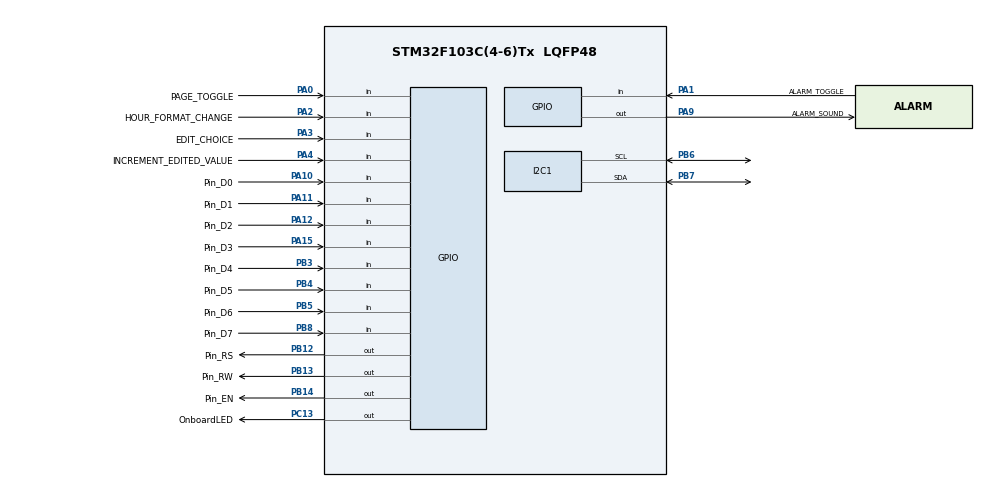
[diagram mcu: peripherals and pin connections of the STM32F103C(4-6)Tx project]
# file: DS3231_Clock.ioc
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I2C1.I2C_Mode=I2C_Standard
Mcu.Family=STM32F1
Mcu.Name=STM32F103C(4-6)Tx
Mcu.Package=LQFP48
NVIC.PriorityGroup=NVIC_PRIORITYGROUP_4
PA0-WKUP.GPIO_Label=PAGE_TOGGLE
PA0-WKUP.GPIO_PuPd=GPIO_PULLDOWN
PA0-WKUP.Signal=GPIO_Input
PA1.GPIO_Label=ALARM_TOGGLE
PA1.GPIO_PuPd=GPIO_PULLDOWN
PA1.Signal=GPIO_Input
PA10.GPIO_Label=Pin_D0
PA10.Signal=GPIO_Input
PA11.GPIO_Label=Pin_D1
PA11.Signal=GPIO_Input
PA12.GPIO_Label=Pin_D2
PA12.Signal=GPIO_Input
PA13.Signal=SYS_JTMS-SWDIO
PA14.Signal=SYS_JTCK-SWCLK
PA15.GPIO_Label=Pin_D3
PA15.Signal=GPIO_Input
PA2.GPIO_Label=HOUR_FORMAT_CHANGE
PA2.GPIO_PuPd=GPIO_PULLDOWN
PA2.Signal=GPIO_Input
PA3.GPIO_Label=EDIT_CHOICE
PA3.GPIO_PuPd=GPIO_PULLDOWN
PA3.Signal=GPIO_Input
PA4.GPIO_Label=INCREMENT_EDITED_VALUE
PA4.GPIO_PuPd=GPIO_PULLDOWN
PA4.Signal=GPIO_Input
PA9.GPIO_Label=ALARM_SOUND
PA9.Signal=GPIO_Output
PB12.GPIO_Label=Pin_RS
PB12.Signal=GPIO_Output
PB13.GPIO_Label=Pin_RW
PB13.Signal=GPIO_Output
PB14.GPIO_Label=Pin_EN
PB14.Signal=GPIO_Output
PB3.GPIO_Label=Pin_D4
PB3.Signal=GPIO_Input
PB4.GPIO_Label=Pin_D5
PB4.Signal=GPIO_Input
PB5.GPIO_Label=Pin_D6
PB5.Signal=GPIO_Input
PB6.Mode=I2C
PB6.Signal=I2C1_SCL
PB7.Mode=I2C
PB7.Signal=I2C1_SDA
PB8.GPIO_Label=Pin_D7
PB8.Signal=GPIO_Input
PC13-TAMPER-RTC.GPIO_Label=OnboardLED
PC13-TAMPER-RTC.Signal=GPIO_Output
ProjectManager.HeapSize=0x200
ProjectManager.StackSize=0x400
ProjectManager.TargetToolchain=STM32CubeIDE
RCC.APB1Freq_Value=8000000
RCC.APB2Freq_Value=8000000
VP_SYS_VS_ND.Mode=No_Debug
board=custom

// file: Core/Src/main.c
/* USER CODE BEGIN Header */
/**
  ******************************************************************************
  * @file           : main.c
  * @brief          : Main program body
  ******************************************************************************
  * @attention
  *
  * Copyright (c) 2026 STMicroelectronics.
  * All rights reserved.
  *
  * This software is licensed under terms that can be found in the LICENSE file
  * in the root directory of this software component.
  * If no LICENSE file comes with this software, it is provided AS-IS.
  *
  ******************************************************************************
  */
/* USER CODE END Header */
#include "main.h"

/* USER CODE BEGIN Includes */
#include "lcd_HD44780U.h"
#include "display_control.h"
#include "debounced_button.h"
#include "ds3231.h"
#include <string.h>
#include <stdio.h>
#include <stdlib.h>
#include <editor.h>
/* USER CODE END Includes */

/* USER CODE BEGIN PD */
#define N_BUTTONS_IN_CIRCUIT		5 //Total number of buttons in the circuit to be debounced
//Indices of the buttons in the debouncable buttons array
#define ALARM_TOGGLE_BUTTON_INDEX   			0
#define PAGE_TOGGLE_BUTTON_INDEX 				1
#define HOUR_FORMAT_CHANGE_BUTTON_INDEX			2
#define EDIT_CHOICE_BUTTON_INDEX				3
#define INCREMENT_EDITED_VALUE_BUTTON_INDEX		4
/* USER CODE END PD */

I2C_HandleTypeDef hi2c1;

/* USER CODE BEGIN PV */
static uint8_t currentCentury = 21;
/* USER CODE END PV */

void SystemClock_Config(void);
static void MX_GPIO_Init(void);
static void MX_I2C1_Init(void);
/* USER CODE BEGIN PFP */
//Sets the I2C pins as GPIO pins, tells the slaves to set the I2C bus free,
//sets the pin states back to Reset_State.
static void ResetI2CBus(void)
{
    __HAL_RCC_GPIOB_CLK_ENABLE(); //I2C Channel 1 are on pins PB6 (SCL) and PB7 (SDA)

    /*Configure GPIO pin Output Level */
    uint16_t pinSCL = GPIO_PIN_6, pinSDA = GPIO_PIN_7;
    GPIO_TypeDef* gpioChannel = GPIOB;
    //This is GPIO_PIN_RESET bc auto-generated code does it this way
    //and idk if GPIO_PIN_SET will be correct here
    HAL_GPIO_WritePin(gpioChannel, pinSCL | pinSDA, GPIO_PIN_RESET);

    GPIO_InitTypeDef GPIO_InitStruct = { 0 };
    GPIO_InitStruct.Pin = pinSCL | pinSDA;
    GPIO_InitStruct.Mode = GPIO_MODE_OUTPUT_OD;
    GPIO_InitStruct.Pull = GPIO_NOPULL;
    GPIO_InitStruct.Speed = GPIO_SPEED_FREQ_LOW;
    HAL_GPIO_Init(gpioChannel, &GPIO_InitStruct);

    //Release the SDA and SCL pins because we set both of them to LOW previously.
    HAL_GPIO_WritePin(gpioChannel, pinSCL | pinSDA, GPIO_PIN_SET);

    //9 iterations because 1 byte (8 bits) of data + 1 ACK bit
    for (int i = 0; i < 9; i++)
    {
    	HAL_GPIO_WritePin(gpioChannel, pinSCL, GPIO_PIN_RESET);
		HAL_Delay(1);
		//SCL pin must be set to HIGH last, because in order for SDA being high to mean the bus
		//is released, SCL needs to be high as well. Only both lines being high means the bus
		//is free.
		HAL_GPIO_WritePin(gpioChannel, pinSCL, GPIO_PIN_SET);
		HAL_Delay(1);

		//We can stop once SDA is HIGH (bus is released)
		if (HAL_GPIO_ReadPin(gpioChannel, pinSDA) != GPIO_PIN_SET)
		{
			break;
		}
    }

    //At this point the bus is free, generate a START condition.
    //START condition is pulling SDL low while SCL is high. At this point in code,
    //SCL pin is left high. All we need to do is pull SDA low.
    HAL_GPIO_WritePin(gpioChannel, pinSDA, GPIO_PIN_RESET);

    //Generating the START condition is enough for DS3231 to know things are reset
    //but just to better comply with I2C, generate a STOP condition as well.
    //SCL is still HIGH, all the STOP condition needs is releasing SDA as well so that
    //the pull-ups will pull it high
    HAL_Delay(1);
    HAL_GPIO_WritePin(gpioChannel, pinSDA, GPIO_PIN_SET);

    //Reset the pins to their reset states
    GPIO_InitStruct.Mode = GPIO_MODE_ANALOG;
    HAL_GPIO_Init(gpioChannel, &GPIO_InitStruct);
    __HAL_RCC_GPIOB_CLK_DISABLE(); //I2C Channel 1 are on pins PB6 (SCL) and PB7 (SDA)
}

/*
  All DS3231 I2C communication functions return the result of the communication. Instead of writing the code
  for displaying the error message after every DS3231 function call, you can simply pass the call into this
  function and it will handle the communication error displaying. It also returns the communication result
  back so if you need to do something special in your context, you can still execute your logic as well.
  In order to ensure the error message will be displayed, this function will block all other execution for
  3000ms.
*/
static HAL_StatusTypeDef I2C_ErrorHandler(HAL_StatusTypeDef commResult)
{
	if (commResult != HAL_OK)
	{
		ClearScreen();
		MoveCursor(1, 1);
		char msg[16] = { 0 };
		snprintf(msg, 16, "I2C err (%d)", commResult);
		WriteString(msg);
		HAL_Delay(3000);
	}
	return commResult;
}

static void ToggleAlarm(void)
{
	uint8_t alarmEnabled = 0;
	I2C_ErrorHandler(DS3231_IsAlarmEnabled(&alarmEnabled));
	I2C_ErrorHandler(DS3231_ToggleAlarm(!alarmEnabled));
}

static void ToggleHourFormat(void)
{
	uint8_t currentlyIn12hrFormat = 0;
	I2C_ErrorHandler(DS3231_Is12hrFormatEnabled(&currentlyIn12hrFormat));
	I2C_ErrorHandler(DS3231_SetTimeFormat(!currentlyIn12hrFormat));
}

static void SetDateForDS3231(uint16_t year, uint8_t month, uint8_t dayOfTheMonth, uint8_t dayOfTheWeek, uint8_t hoursIn24hFormat, uint8_t minutes, uint8_t seconds)
{
	I2C_ErrorHandler(DS3231_WriteYear((uint8_t)(year % 100)));
	I2C_ErrorHandler(DS3231_WriteMonth(month));
	I2C_ErrorHandler(DS3231_WriteDayOfTheMonth(dayOfTheMonth));
	I2C_ErrorHandler(DS3231_WriteDayOfTheWeek(dayOfTheWeek));
	I2C_ErrorHandler(DS3231_WriteHours(hoursIn24hFormat));
	I2C_ErrorHandler(DS3231_WriteMinutes(minutes));
	I2C_ErrorHandler(DS3231_WriteSeconds(seconds));
}

static void ReadDS3231DataIntoDisplayInfo(DisplayInfo* info)
{
	//Clock info
	I2C_ErrorHandler(DS3231_ReadSeconds(&info->seconds));
	I2C_ErrorHandler(DS3231_ReadMinutes(&info->minutes));
	I2C_ErrorHandler(DS3231_ReadHours(&info->hours, NULL, NULL));
	I2C_ErrorHandler(DS3231_IsTimePM(&info->isTimePM));
	I2C_ErrorHandler(DS3231_Is12hrFormatEnabled(&info->displayFormat));

	//Date info
	I2C_ErrorHandler(DS3231_ReadDayOfTheWeek(&info->dayOfTheWeek));
	I2C_ErrorHandler(DS3231_ReadDayOfTheMonth(&info->dayOfTheMonth));
	I2C_ErrorHandler(DS3231_ReadMonth(&info->month));

	uint8_t centuryPassed = 0;
	I2C_ErrorHandler(DS3231_ReadCenturyBit(&centuryPassed));
	if (centuryPassed)
	{
	  currentCentury++;
	  I2C_ErrorHandler(DS3231_WriteCenturyBit(0)); //Clear the century bit
	}

	uint8_t ds3231_yearInfo = 0; //Range is between 00-99
	I2C_ErrorHandler(DS3231_ReadYear(&ds3231_yearInfo));
	info->year = ((currentCentury - 1) * 100) + ds3231_yearInfo;

	//Alarm info
	I2C_ErrorHandler(DS3231_IsAlarmEnabled(&info->alarmEnabled));
	I2C_ErrorHandler(DS3231_ReadAlarmTime(&info->alarmHours, &info->alarmMinutes, &info->alarmDisplayFormat, &info->isAlarmTimePM));
	I2C_ErrorHandler(DS3231_ReadTemperature(&info->temperature));
}

static void WriteDispInfoDataIntoDS3231(const DisplayInfo* info)
{
	I2C_ErrorHandler(DS3231_WriteHours(info->hours));
	I2C_ErrorHandler(DS3231_WriteMinutes(info->minutes));
	I2C_ErrorHandler(DS3231_WriteSeconds(info->seconds));
	I2C_ErrorHandler(DS3231_SetTimeFormat(info->displayFormat));
	I2C_ErrorHandler(DS3231_WriteDayOfTheMonth(info->dayOfTheMonth));
	I2C_ErrorHandler(DS3231_WriteMonth(info->month));
	//The last 2 digits of the year are held in DS3231.
	//The higher 2 digits are based on the century flag and are calculated elsewhere.
	I2C_ErrorHandler(DS3231_WriteYear(info->year % 100));
	I2C_ErrorHandler(DS3231_WriteDayOfTheWeek(info->dayOfTheWeek));
	//TODO: Handle setting AM/PM information

	uint8_t alarmTimeIn24hFormat = 0;
	if (info->isAlarmTimePM)
	{
		if (info->alarmHours != 12)
		{
			alarmTimeIn24hFormat = info->alarmHours + 12;
		}
	}
	else
	{
		if (info->alarmHours == 12)
		{
			alarmTimeIn24hFormat = 0;
		}
	}

	I2C_ErrorHandler(DS3231_SetAlarmTime(info->alarmDisplayFormat == DISPLAY_FORMAT_12H ? alarmTimeIn24hFormat : info->alarmHours, info->alarmMinutes));
	I2C_ErrorHandler(DS3231_ToggleAlarm(info->alarmEnabled));
}
/* USER CODE END PFP */

int main(void)
{

  /* USER CODE BEGIN 1 */
  DebouncedButton buttons[N_BUTTONS_IN_CIRCUIT] = { 0 };
  buttons[ALARM_TOGGLE_BUTTON_INDEX] = InitButtonWithDefaults(ALARM_TOGGLE_GPIO_Port, ALARM_TOGGLE_Pin, GPIO_PIN_SET);
  buttons[PAGE_TOGGLE_BUTTON_INDEX] = InitButtonWithDefaults(PAGE_TOGGLE_GPIO_Port, PAGE_TOGGLE_Pin, GPIO_PIN_SET);
  buttons[HOUR_FORMAT_CHANGE_BUTTON_INDEX] = InitButtonWithDefaults(HOUR_FORMAT_CHANGE_GPIO_Port, HOUR_FORMAT_CHANGE_Pin, GPIO_PIN_SET);
  buttons[EDIT_CHOICE_BUTTON_INDEX] = InitButtonWithDefaults(EDIT_CHOICE_GPIO_Port, EDIT_CHOICE_Pin, GPIO_PIN_SET);
  buttons[INCREMENT_EDITED_VALUE_BUTTON_INDEX] = InitButtonWithDefaults(INCREMENT_EDITED_VALUE_GPIO_Port, INCREMENT_EDITED_VALUE_Pin, GPIO_PIN_SET);
  /* USER CODE END 1 */

  /* MCU Configuration--------------------------------------------------------*/

  /* Reset of all peripherals, Initializes the Flash interface and the Systick. */
  HAL_Init();

  /* Configure the system clock */
  SystemClock_Config();

  /* USER CODE BEGIN SysInit */
  ResetI2CBus(); //In case the bus gets stuck during an MCU reset. (works most of the time, not always. TODO: fix)
  /* USER CODE END SysInit */

  /* Initialize all configured peripherals */
  MX_GPIO_Init();
  MX_I2C1_Init();
  /* USER CODE BEGIN 2 */
  Init16x2LCD();
  HAL_StatusTypeDef status = DS3231_Init(&hi2c1);
  if (status != HAL_OK)
  {
    ClearScreen();
    MoveCursor(1, 1);
    WriteString("Init error (");
    WriteCharacter('0' + status);
    WriteCharacter(')');
    return 1;
  }
  DisplayInfo dispInfo = { 0 };
  dispInfo.tempUnit = TEMP_UNIT_CELSIUS;
  SetDateForDS3231(2026, 1, 29, 4, 23, 30, 55);
  I2C_ErrorHandler(DS3231_SetTimeFormat(0));
  I2C_ErrorHandler(DS3231_SetAlarmTime(23, 31));
  I2C_ErrorHandler(DS3231_ToggleAlarm(1));

  /* USER CODE END 2 */

  /* Infinite loop */
  /* USER CODE BEGIN WHILE */
  while (1)
  {
	  static uint8_t inEditMode = 0;
	  if (inEditMode)
	  {
		  HandleDisplayDuringEditing(&dispInfo);
	  }
	  else
	  {
		  ReadDS3231DataIntoDisplayInfo(&dispInfo);
		  DisplayTime(&dispInfo);

		  uint8_t isAlarmTime = 0;
		  I2C_ErrorHandler(DS3231_IsAlarmTime(&isAlarmTime));
		  if (isAlarmTime)
		  {
			  //Sound the alarm if alarm is enabled, stop it (even mid-alarm) if disabled
			  HAL_GPIO_WritePin(ALARM_SOUND_GPIO_Port, ALARM_SOUND_Pin, dispInfo.alarmEnabled);
		  }
		  else
		  {
			  //Disable the alarm whether or not the alarm is enabled if the alarm time
			  //has passed/did not come yet
			  HAL_GPIO_WritePin(ALARM_SOUND_GPIO_Port, ALARM_SOUND_Pin, GPIO_PIN_RESET);
			  DS3231_SignalAlarmTimePassed();
		  }
	  }

	  if (GetDebouncedButtonState(buttons + PAGE_TOGGLE_BUTTON_INDEX) == BUTTON_STATE_PRESSED)
	  {
		  SignalDisplayToggle();
	  }

	  if (GetDebouncedButtonState(buttons + ALARM_TOGGLE_BUTTON_INDEX) == BUTTON_STATE_PRESSED)
	  {
		  ToggleAlarm();
	  }

	  if (GetDebouncedButtonState(buttons + HOUR_FORMAT_CHANGE_BUTTON_INDEX) == BUTTON_STATE_PRESSED)
	  {
		  ToggleHourFormat();
	  }

	  if (GetDebouncedButtonState(buttons + EDIT_CHOICE_BUTTON_INDEX) == BUTTON_STATE_PRESSED)
	  {
		  if (!inEditMode)
		  {
			  //Get into edit mode
			  inEditMode = 1;
			  StartEditing();
		  }
		  else
		  {
			  uint8_t editingDone = SwitchNextToEdit();
			  if (editingDone)
			  {
				  inEditMode = 0;
				  EndEditing();
				  WriteDispInfoDataIntoDS3231(&dispInfo);
			  }
		  }
	  }

	  if (GetDebouncedButtonState(buttons + INCREMENT_EDITED_VALUE_BUTTON_INDEX) == BUTTON_STATE_PRESSED)
	  {
		  if (inEditMode)
		  {
			  uint16_t yearBeforeEdit = dispInfo.year;
			  IncrementCurrentlyEditedValue(&dispInfo);
			  uint16_t yearAfterEdit = dispInfo.year;
			  uint8_t highestTwoDigitsBeforeEdit = (yearBeforeEdit - (yearBeforeEdit % 100)) / 100;
			  uint8_t highestTwoDigitsAfterEdit = (yearAfterEdit - (yearAfterEdit % 100)) / 100;
			  if (highestTwoDigitsBeforeEdit != highestTwoDigitsAfterEdit)
			  {
				  //User forwarded time more than a century.
				  currentCentury++;
			  }
		  }
	  }
    /* USER CODE END WHILE */

  }
}

void SystemClock_Config(void)
{
  RCC_OscInitTypeDef RCC_OscInitStruct = {0};
  RCC_ClkInitTypeDef RCC_ClkInitStruct = {0};

  /** Initializes the RCC Oscillators according to the specified parameters
  * in the RCC_OscInitTypeDef structure.
  */
  RCC_OscInitStruct.OscillatorType = RCC_OSCILLATORTYPE_HSI;
  RCC_OscInitStruct.HSIState = RCC_HSI_ON;
  RCC_OscInitStruct.HSICalibrationValue = RCC_HSICALIBRATION_DEFAULT;
  RCC_OscInitStruct.PLL.PLLState = RCC_PLL_NONE;
  if (HAL_RCC_OscConfig(&RCC_OscInitStruct) != HAL_OK)
  {
    Error_Handler();
  }

  /** Initializes the CPU, AHB and APB buses clocks
  */
  RCC_ClkInitStruct.ClockType = RCC_CLOCKTYPE_HCLK|RCC_CLOCKTYPE_SYSCLK
                              |RCC_CLOCKTYPE_PCLK1|RCC_CLOCKTYPE_PCLK2;
  RCC_ClkInitStruct.SYSCLKSource = RCC_SYSCLKSOURCE_HSI;
  RCC_ClkInitStruct.AHBCLKDivider = RCC_SYSCLK_DIV1;
  RCC_ClkInitStruct.APB1CLKDivider = RCC_HCLK_DIV1;
  RCC_ClkInitStruct.APB2CLKDivider = RCC_HCLK_DIV1;

  if (HAL_RCC_ClockConfig(&RCC_ClkInitStruct, FLASH_LATENCY_0) != HAL_OK)
  {
    Error_Handler();
  }
}

static void MX_I2C1_Init(void)
{

  hi2c1.Instance = I2C1;
  hi2c1.Init.ClockSpeed = 100000;
  hi2c1.Init.DutyCycle = I2C_DUTYCYCLE_2;
  hi2c1.Init.OwnAddress1 = 0;
  hi2c1.Init.AddressingMode = I2C_ADDRESSINGMODE_7BIT;
  hi2c1.Init.DualAddressMode = I2C_DUALADDRESS_DISABLE;
  hi2c1.Init.OwnAddress2 = 0;
  hi2c1.Init.GeneralCallMode = I2C_GENERALCALL_DISABLE;
  hi2c1.Init.NoStretchMode = I2C_NOSTRETCH_DISABLE;
  if (HAL_I2C_Init(&hi2c1) != HAL_OK)
  {
    Error_Handler();
  }

}

static void MX_GPIO_Init(void)
{
  GPIO_InitTypeDef GPIO_InitStruct = {0};

  /* GPIO Ports Clock Enable */
  __HAL_RCC_GPIOC_CLK_ENABLE();
  __HAL_RCC_GPIOA_CLK_ENABLE();
  __HAL_RCC_GPIOB_CLK_ENABLE();

  /*Configure GPIO pin Output Level */
  HAL_GPIO_WritePin(OnboardLED_GPIO_Port, OnboardLED_Pin, GPIO_PIN_RESET);

  /*Configure GPIO pin Output Level */
  HAL_GPIO_WritePin(GPIOB, Pin_RS_Pin|Pin_RW_Pin|Pin_EN_Pin, GPIO_PIN_RESET);

  /*Configure GPIO pin Output Level */
  HAL_GPIO_WritePin(ALARM_SOUND_GPIO_Port, ALARM_SOUND_Pin, GPIO_PIN_RESET);

  /*Configure GPIO pin : OnboardLED_Pin */
  GPIO_InitStruct.Pin = OnboardLED_Pin;
  GPIO_InitStruct.Mode = GPIO_MODE_OUTPUT_PP;
  GPIO_InitStruct.Pull = GPIO_NOPULL;
  GPIO_InitStruct.Speed = GPIO_SPEED_FREQ_LOW;
  HAL_GPIO_Init(OnboardLED_GPIO_Port, &GPIO_InitStruct);

  /*Configure GPIO pins : PAGE_TOGGLE_Pin ALARM_TOGGLE_Pin HOUR_FORMAT_CHANGE_Pin EDIT_CHOICE_Pin
                           INCREMENT_EDITED_VALUE_Pin */
  GPIO_InitStruct.Pin = PAGE_TOGGLE_Pin|ALARM_TOGGLE_Pin|HOUR_FORMAT_CHANGE_Pin|EDIT_CHOICE_Pin
                          |INCREMENT_EDITED_VALUE_Pin;
  GPIO_InitStruct.Mode = GPIO_MODE_INPUT;
  GPIO_InitStruct.Pull = GPIO_PULLDOWN;
  HAL_GPIO_Init(GPIOA, &GPIO_InitStruct);

  /*Configure GPIO pins : Pin_RS_Pin Pin_RW_Pin Pin_EN_Pin */
  GPIO_InitStruct.Pin = Pin_RS_Pin|Pin_RW_Pin|Pin_EN_Pin;
  GPIO_InitStruct.Mode = GPIO_MODE_OUTPUT_PP;
  GPIO_InitStruct.Pull = GPIO_NOPULL;
  GPIO_InitStruct.Speed = GPIO_SPEED_FREQ_LOW;
  HAL_GPIO_Init(GPIOB, &GPIO_InitStruct);

  /*Configure GPIO pin : ALARM_SOUND_Pin */
  GPIO_InitStruct.Pin = ALARM_SOUND_Pin;
  GPIO_InitStruct.Mode = GPIO_MODE_OUTPUT_PP;
  GPIO_InitStruct.Pull = GPIO_NOPULL;
  GPIO_InitStruct.Speed = GPIO_SPEED_FREQ_LOW;
  HAL_GPIO_Init(ALARM_SOUND_GPIO_Port, &GPIO_InitStruct);

  /*Configure GPIO pins : Pin_D0_Pin Pin_D1_Pin Pin_D2_Pin Pin_D3_Pin */
  GPIO_InitStruct.Pin = Pin_D0_Pin|Pin_D1_Pin|Pin_D2_Pin|Pin_D3_Pin;
  GPIO_InitStruct.Mode = GPIO_MODE_INPUT;
  GPIO_InitStruct.Pull = GPIO_NOPULL;
  HAL_GPIO_Init(GPIOA, &GPIO_InitStruct);

  /*Configure GPIO pins : Pin_D4_Pin Pin_D5_Pin Pin_D6_Pin Pin_D7_Pin */
  GPIO_InitStruct.Pin = Pin_D4_Pin|Pin_D5_Pin|Pin_D6_Pin|Pin_D7_Pin;
  GPIO_InitStruct.Mode = GPIO_MODE_INPUT;
  GPIO_InitStruct.Pull = GPIO_NOPULL;
  HAL_GPIO_Init(GPIOB, &GPIO_InitStruct);

}

void Error_Handler(void)
{
  __disable_irq();
  while (1)
  {
  }
}
